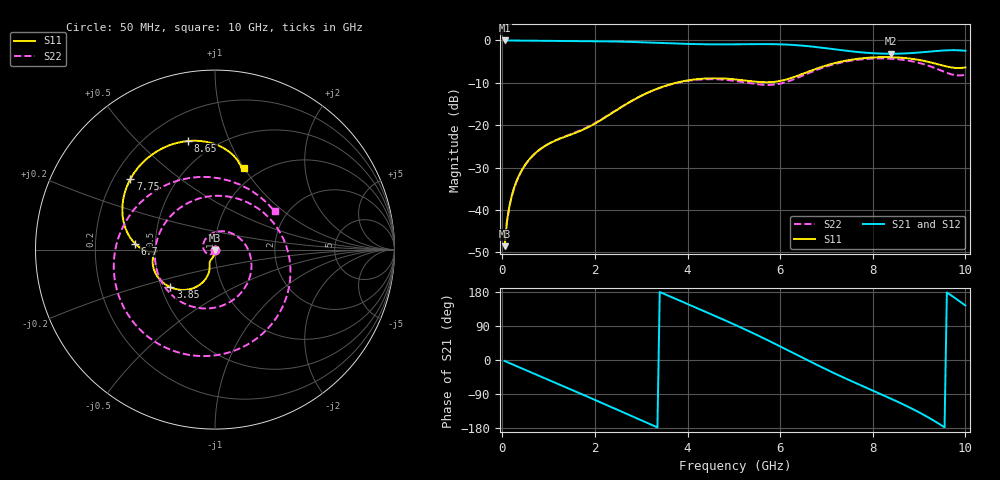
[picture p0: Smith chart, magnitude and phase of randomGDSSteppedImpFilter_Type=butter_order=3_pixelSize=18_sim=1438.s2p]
! freq	dB(S11)	phase(S11)	dB(S12)	phase(S12)
!  dB(S21)	phase(S21)	dB(S22)	phase(S22)
!S-par simulation data
#  GHz  S  DB  R 50
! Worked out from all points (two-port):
!   200 points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, 50 MHz to 10 GHz, reference 50 ohm
!   highest |S21| = -0.01 dB at 50 MHz (marker M1); lowest = -3.1 dB at 8.4 GHz (marker M2)
!   |S21| within 3 dB of the highest: start of sweep to 7.989 GHz; 8.802 GHz to end of sweep
!   lowest |S11| = -48.5 dB at 50 MHz (marker M3), VSWR 1.01, Z = 50 - j0.373 ohm
!   |S11| at or under -10 dB: start of sweep to 3.751 GHz
!   |S22| runs from -48.5 to -4.3 dB; largest |S21 - S12| = 0
!   S11 on the Smith chart (normalised r, x): 50 MHz: 1.00, -0.01; 3.85 GHz: 0.56, -0.26; 6.7 GHz: 0.38, +0.03; 7.75 GHz: 0.27, +0.34; 8.65 GHz: 0.36, +0.72; 10 GHz: 0.85, +1.00
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0.05  -48.54 -85.3  -0.01 -2.7  -0.01 -2.7  -48.54 -88.9
0.1  -42.75 -89.4  -0.01 -5.3  -0.01 -5.3  -42.81 -95.0
0.2  -36.85 -93.7  -0.02 -10.6  -0.02 -10.6  -36.93 -104.8
0.5  -29.26 -102.2  -0.04 -26.3  -0.04 -26.3  -29.31 -130.8
1.15  -23.60 -112.6  -0.09 -60.4  -0.09 -60.4  -23.57 170.0
1.75  -21.03 -109.6  -0.14 -92.0  -0.14 -92.0  -20.89 103.8
2.65  -15.20 -107.9  -0.31 -140.2  -0.31 -140.2  -15.16 6.9
3.4  -11.16 -125.8  -0.59 179.5  -0.59 179.5  -11.21 -55.4
3.85  -9.75 -139.9  -0.77 155.6  -0.77 155.6  -9.85 -88.7
4.5  -8.94 -159.9  -0.92 121.3  -0.92 121.3  -9.14 -136.6
5.05  -9.22 -173.4  -0.92 91.5  -0.92 91.5  -9.59 177.8
5.9  -9.74 -178.4  -0.89 42.0  -0.89 42.0  -10.39 81.6
6.3  -8.64 -178.3  -1.08 17.4  -1.08 17.4  -9.15 30.9
6.7  -6.99 175.6  -1.46 -7.2  -1.46 -7.2  -7.33 -12.6
7.3  -5.03 157.2  -2.27 -42.4  -2.27 -42.4  -5.26 -64.2
7.75  -4.24 140.1  -2.81 -67.2  -2.81 -67.2  -4.48 -96.4
8.35  -3.94 116.1  -3.14 -99.8  -3.14 -99.8  -4.30 -136.8
8.4  -3.95 114.0  -3.14 -102.5  -3.14 -102.5  -4.33 -140.3
8.65  -4.11 103.9  -3.09 -116.7  -3.09 -116.7  -4.58 -158.2
9.1  -4.82 86.6  -2.76 -144.7  -2.76 -144.7  -5.61 164.0
9.5  -5.90 75.1  -2.39 -173.8  -2.39 -173.8  -7.22 117.5
10  -6.36 70.2  -2.45 143.8  -2.45 143.8  -8.07 32.7
